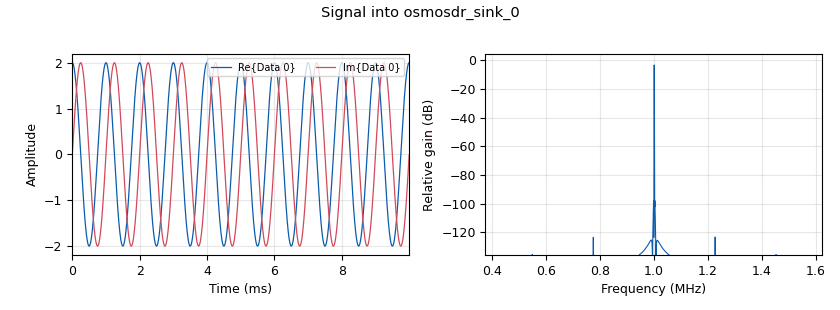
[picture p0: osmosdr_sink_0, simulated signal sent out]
<?xml version='1.0' encoding='utf-8'?>
<?grc format='1' created='3.7.11'?>
<flow_graph>
<block>
<key>options</key>
<param><key>id</key><value>top_block</value></param>
<param><key>generate_options</key><value>qt_gui</value></param>
</block>
<block>
<key>variable</key>
<param><key>id</key><value>fc</value></param>
<param><key>value</key><value>1e6</value></param>
</block>
<block>
<key>variable</key>
<param><key>id</key><value>fm</value></param>
<param><key>value</key><value>1e3</value></param>
</block>
<block>
<key>variable</key>
<param><key>id</key><value>samp_rate</value></param>
<param><key>value</key><value>1250000</value></param>
</block>
<block>
<key>variable</key>
<param><key>id</key><value>sdr</value></param>
<param><key>value</key><value>"redpitaya=192.168.88.18:1001"</value></param>
</block>
<block>
<key>parameter</key>
<param><key>id</key><value>address0</value></param>
<param><key>label</key><value>IP Address, Dev 0</value></param>
<param><key>type</key><value>string</value></param>
<param><key>value</key><value>"192.168.88.18"</value></param>
</block>
<block>
<key>analog_sig_source_x</key>
<param><key>id</key><value>analog_sig_source_x_0</value></param>
<param><key>amp</key><value>2</value></param>
<param><key>freq</key><value>fm</value></param>
<param><key>offset</key><value>0</value></param>
<param><key>type</key><value>complex</value></param>
<param><key>samp_rate</key><value>samp_rate</value></param>
<param><key>waveform</key><value>analog.GR_COS_WAVE</value></param>
</block>
<block>
<key>blocks_multiply_const_vxx</key>
<param><key>id</key><value>blocks_multiply_const_vxx_0</value></param>
<param><key>const</key><value>100</value></param>
<param><key>type</key><value>complex</value></param>
</block>
<block>
<key>blocks_throttle</key>
<param><key>id</key><value>blocks_throttle_0</value></param>
<param><key>samples_per_second</key><value>samp_rate</value></param>
<param><key>type</key><value>complex</value></param>
</block>
<block>
<key>blocks_throttle</key>
<param><key>id</key><value>blocks_throttle_0_0</value></param>
<param><key>_enabled</key><value>0</value></param>
<param><key>samples_per_second</key><value>samp_rate</value></param>
<param><key>type</key><value>complex</value></param>
</block>
<block>
<key>osmosdr_sink</key>
<param><key>id</key><value>osmosdr_sink_0</value></param>
<param><key>bb_gain0</key><value>20</value></param>
<param><key>freq0</key><value>fc</value></param>
<param><key>if_gain0</key><value>20</value></param>
<param><key>gain0</key><value>10</value></param>
<param><key>args</key><value>sdr</value></param>
<param><key>type</key><value>fc32</value></param>
<param><key>sample_rate</key><value>samp_rate</value></param>
<param><key>sync</key><value></value></param>
</block>
<block>
<key>osmosdr_source</key>
<param><key>id</key><value>osmosdr_source_0</value></param>
<param><key>bb_gain0</key><value>20</value></param>
<param><key>freq0</key><value>fc</value></param>
<param><key>gain_mode0</key><value>False</value></param>
<param><key>if_gain0</key><value>20</value></param>
<param><key>gain0</key><value>10</value></param>
<param><key>args</key><value>sdr</value></param>
<param><key>type</key><value>fc32</value></param>
<param><key>sample_rate</key><value>samp_rate</value></param>
<param><key>sync</key><value></value></param>
</block>
<block>
<key>qtgui_time_sink_x</key>
<param><key>id</key><value>qtgui_time_sink_x_1_0_0_0_0_0_0</value></param>
<param><key>color1</key><value>"blue"</value></param>
<param><key>label1</key><value></value></param>
<param><key>color2</key><value>"red"</value></param>
<param><key>label2</key><value></value></param>
<param><key>color3</key><value>"green"</value></param>
<param><key>label3</key><value></value></param>
<param><key>color4</key><value>"black"</value></param>
<param><key>label4</key><value></value></param>
<param><key>name</key><value>RX</value></param>
<param><key>nconnections</key><value>2</value></param>
<param><key>size</key><value>1024</value></param>
<param><key>srate</key><value>samp_rate</value></param>
<param><key>type</key><value>complex</value></param>
<param><key>ymax</key><value>2</value></param>
<param><key>ymin</key><value>-2</value></param>
</block>
<block>
<key>red_pitaya_source</key>
<param><key>id</key><value>red_pitaya_source_0</value></param>
<param><key>addr</key><value>str(address0)</value></param>
<param><key>freq</key><value>fc</value></param>
<param><key>_enabled</key><value>0</value></param>
<param><key>corr</key><value>0</value></param>
<param><key>port</key><value>1001</value></param>
<param><key>rate</key><value>samp_rate</value></param>
</block>
<block>
<key>red_pitaya_wide_sink</key>
<param><key>id</key><value>red_pitaya_wide_sink_0</value></param>
<param><key>addr</key><value>str(address0)</value></param>
<param><key>freq</key><value>fc</value></param>
<param><key>_enabled</key><value>0</value></param>
<param><key>corr</key><value>0</value></param>
<param><key>mask</key><value>1</value></param>
<param><key>ptt</key><value>False</value></param>
<param><key>port</key><value>1001</value></param>
<param><key>rate</key><value>100000</value></param>
</block>
<connection><source_block_id>analog_sig_source_x_0</source_block_id><sink_block_id>blocks_throttle_0</sink_block_id><source_key>0</source_key><sink_key>0</sink_key></connection>
<connection><source_block_id>analog_sig_source_x_0</source_block_id><sink_block_id>osmosdr_sink_0</sink_block_id><source_key>0</source_key><sink_key>0</sink_key></connection>
<connection><source_block_id>blocks_multiply_const_vxx_0</source_block_id><sink_block_id>qtgui_time_sink_x_1_0_0_0_0_0_0</sink_block_id><source_key>0</source_key><sink_key>0</sink_key></connection>
<connection><source_block_id>blocks_throttle_0</source_block_id><sink_block_id>qtgui_time_sink_x_1_0_0_0_0_0_0</sink_block_id><source_key>0</source_key><sink_key>1</sink_key></connection>
<connection><source_block_id>blocks_throttle_0</source_block_id><sink_block_id>red_pitaya_wide_sink_0</sink_block_id><source_key>0</source_key><sink_key>0</sink_key></connection>
<connection><source_block_id>blocks_throttle_0_0</source_block_id><sink_block_id>blocks_multiply_const_vxx_0</sink_block_id><source_key>0</source_key><sink_key>0</sink_key></connection>
<connection><source_block_id>osmosdr_source_0</source_block_id><sink_block_id>blocks_multiply_const_vxx_0</sink_block_id><source_key>0</source_key><sink_key>0</sink_key></connection>
<connection><source_block_id>red_pitaya_source_0</source_block_id><sink_block_id>blocks_throttle_0_0</sink_block_id><source_key>0</source_key><sink_key>0</sink_key></connection>
</flow_graph>
